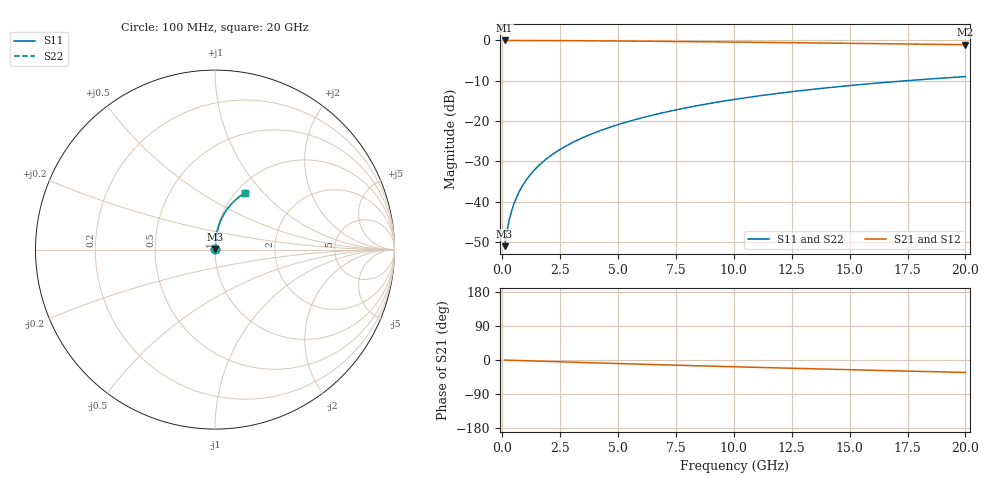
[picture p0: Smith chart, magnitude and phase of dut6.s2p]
! Touchstone file exported from HFSS 2024.1.0
!  File:  C:/UserFiles/LocalFiles/RDL_TSV_Batchsim/temp_RDL_bottom_6_1778691049.aedt
!  Generated:  12:53:44 AM May 14, 2026
!  Design:  RDL_bottom
!  Project:  temp_RDL_bottom_6_1778691049
!  Setup:  Setup1
!  Solution:  Sweep
! Variables:
!  dtsv = 10.80580581um
!  hbump = 3um
!  htsv = 86.11um
!  ldown = 403.9um
!  lrdl = 100um
!  p = 40
!  p1 = 58.86um
!  rhole = 1um
!  t = 450um
!  tdown = 3.74um
!  trdl = 3.915915916um
!  wdown = 20.1um
!  wrdl = 20um
# GHz S MA R 50.000000
! Terminal data exported
! Port[1] = RDL1_T1
! Port[2] = RDL1_T2
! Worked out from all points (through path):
!   200 points, 100 MHz to 20 GHz, reference 50 ohm
!   highest |S21| = -0.02 dB at 100 MHz (marker M1); lowest = -1.1 dB at 20 GHz (marker M2)
!   group delay of S21, straight-line fit = 4.53 ps
!   lowest |S11| = -51.0 dB at 100 MHz (marker M3), VSWR 1.01, Z = 50.2 + j0.188 ohm
!   |S11| at or under -10 dB: start of sweep to 17.46 GHz
!   |S22| runs from -51.0 to -9.0 dB; largest |S21 - S12| = 3.4e-15
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0.1  0.002802 42.0  0.9979 -0.2  0.9979 -0.2  0.002802 42.0
! Gamma 0 0 0 0
! Port Impedance 50 0 50 0
0.2  0.004294 59.7  0.9978 -0.4  0.9978 -0.4  0.004294 59.7
0.3  0.005941 67.7  0.9977 -0.6  0.9977 -0.6  0.005941 67.7
0.4  0.007624 72.1  0.9976 -0.8  0.9976 -0.8  0.007624 72.1
0.5  0.00932 75.0  0.9975 -1.0  0.9975 -1.0  0.00932 75.0
0.6  0.01103 77.1  0.9974 -1.2  0.9974 -1.2  0.01103 77.1
0.8  0.01447 79.7  0.9971 -1.6  0.9971 -1.6  0.01447 79.7
1.1  0.01968 82.0  0.9967 -2.1  0.9967 -2.1  0.01968 82.0
1.5  0.02669 83.5  0.996 -2.9  0.996 -2.9  0.02669 83.5
1.8  0.03199 84.2  0.9954 -3.5  0.9954 -3.5  0.03199 84.2
2.1  0.03732 84.5  0.9946 -4.0  0.9946 -4.0  0.03732 84.5
2.7  0.04806 84.9  0.9928 -5.2  0.9928 -5.2  0.04806 84.9
3.5  0.06256 84.8  0.9899 -6.7  0.9899 -6.7  0.06256 84.8
4.2  0.0754 84.4  0.9869 -7.9  0.9869 -7.9  0.0754 84.4
5  0.09025 83.8  0.983 -9.4  0.983 -9.4  0.09025 83.8
5.9  0.1071 82.9  0.9783 -11.0  0.9783 -11.0  0.1071 82.9
6.8  0.1242 81.9  0.9732 -12.5  0.9732 -12.5  0.1242 81.9
8.4  0.1545 79.8  0.9636 -15.2  0.9636 -15.2  0.1545 79.8
10.1  0.1867 77.3  0.9528 -18.0  0.9528 -18.0  0.1866 77.3
13.4  0.2471 72.2  0.9308 -23.2  0.9308 -23.2  0.2471 72.2
16.7  0.3038 67.1  0.9077 -28.1  0.9077 -28.1  0.3037 67.1
20  0.3557 62.2  0.8839 -32.8  0.8839 -32.8  0.3557 62.2
